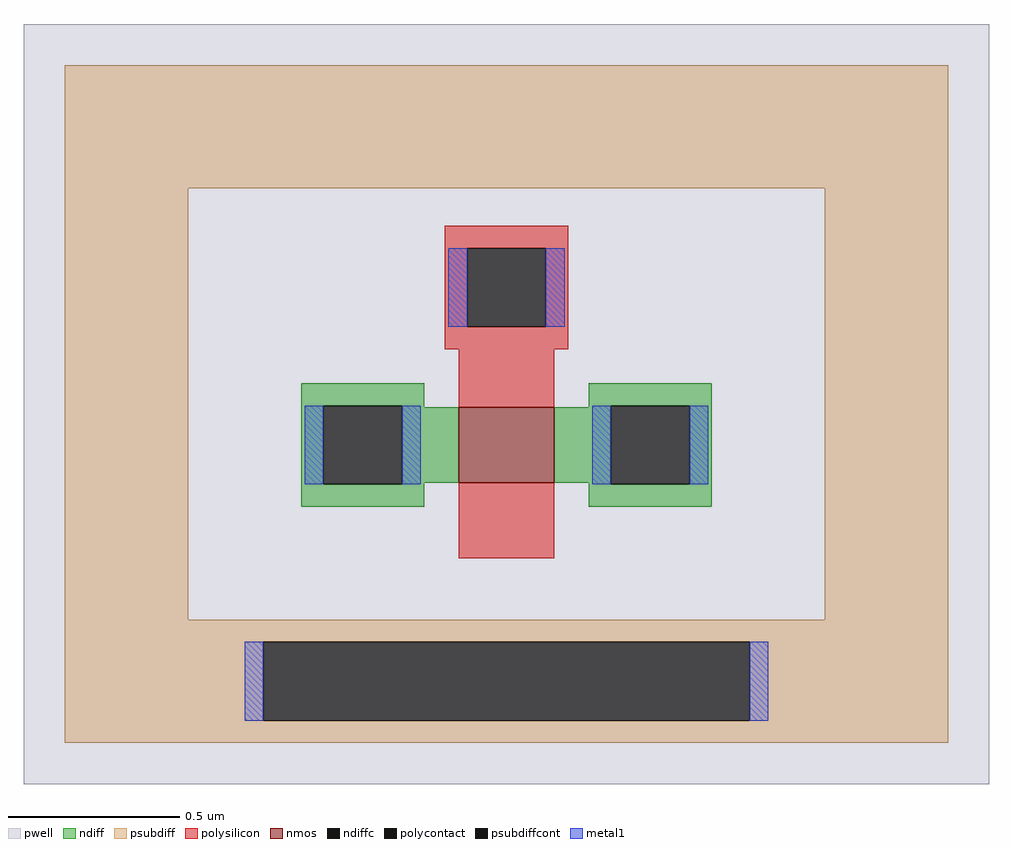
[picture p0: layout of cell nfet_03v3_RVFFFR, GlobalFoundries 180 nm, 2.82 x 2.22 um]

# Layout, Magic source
magic
tech gf180mcuD
magscale 1 10
<< pwell >>
rect -282 -222 282 222
<< nmos >>
rect -28 -46 28 -2
<< ndiff >>
rect -120 -1 -48 12
rect -120 -47 -107 -1
rect -61 -2 -48 -1
rect 48 -1 120 12
rect 48 -2 61 -1
rect -61 -46 -28 -2
rect 28 -46 61 -2
rect -61 -47 -48 -46
rect -120 -60 -48 -47
rect 48 -47 61 -46
rect 107 -47 120 -1
rect 48 -60 120 -47
<< ndiffc >>
rect -107 -47 -61 -1
rect 61 -47 107 -1
<< psubdiff >>
rect -258 126 258 198
rect -258 -126 -186 126
rect 186 -126 258 126
rect -258 -139 258 -126
rect -258 -185 -142 -139
rect 142 -185 258 -139
rect -258 -198 258 -185
<< psubdiffcont >>
rect -142 -185 142 -139
<< polysilicon >>
rect -36 91 36 104
rect -36 45 -23 91
rect 23 45 36 91
rect -36 32 36 45
rect -28 -2 28 32
rect -28 -90 28 -46
<< polycontact >>
rect -23 45 23 91
<< metal1 >>
rect -34 45 -23 91
rect 23 45 34 91
rect -118 -47 -107 -1
rect -61 -47 -50 -1
rect 50 -47 61 -1
rect 107 -47 118 -1
rect -153 -185 -142 -139
rect 142 -185 153 -139
<< properties >>
string FIXED_BBOX -222 -162 222 162
string gencell nfet_03v3
string library gf180mcu
string parameters w 0.22 l 0.28 m 1 nf 1 diffcov 100 polycov 100 guard 1 glc 0 grc 0 gtc 0 gbc 1 tbcov 100 rlcov 100 topc 1 botc 0 poverlap 0 doverlap 1 lmin 0.28 wmin 0.22 class mosfet full_metal 0 compatible {nfet_03v3 nfet_06v0 nfet_06v0_nvt}
<< end >>
